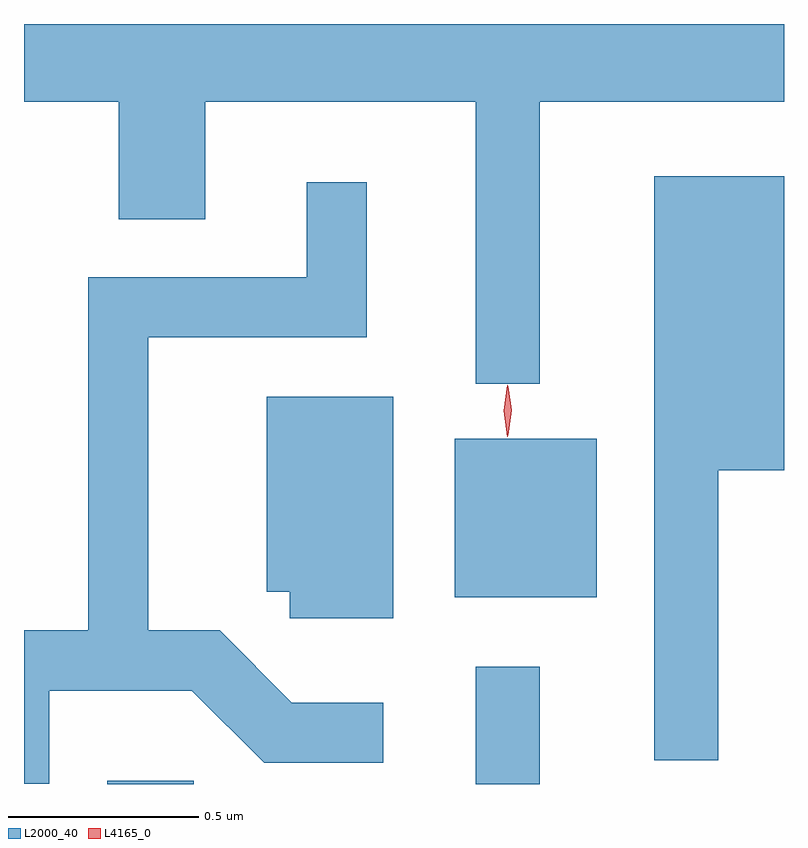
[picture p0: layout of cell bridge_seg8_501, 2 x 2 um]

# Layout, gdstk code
import gdstk
lib = gdstk.Library(unit=1e-6, precision=1e-09)
def R(c, l, rs):  # rectangles x0, y0, x1, y1
    for r in rs: c.add(gdstk.rectangle(r[:2], r[2:], *l))
def P(c, l, *ps):  # polygons
    for p in ps: c.add(gdstk.Polygon(p, *l))
L2000_40 = (2000, 40)
L4165_0 = (4165, 0)

bridge_seg8_501 = lib.new_cell('bridge_seg8_501')
R(bridge_seg8_501, L2000_40, [(332.781,1881.24,333.009,1881.249), (333.751,1881.24,333.919,1881.548), (333.696,1881.731,334.069,1882.149)])
P(bridge_seg8_501, L2000_40, [(332.562,1883.036),(332.811,1883.036),(332.811,1882.726),(333.039,1882.726),(333.039,1883.036),(333.751,1883.036),(333.751,1882.293),(333.919,1882.293),(333.919,1883.036),(334.562,1883.036),(334.562,1883.24),(332.562,1883.24)],
  [(334.389,1882.066),(334.562,1882.066),(334.562,1882.839),(334.221,1882.839),(334.221,1881.303),(334.389,1881.303)],
  [(332.629,1881.486),(333.004,1881.486),(333.194,1881.296),(333.508,1881.296),(333.508,1881.454),(333.267,1881.454),(333.077,1881.644),(332.889,1881.644),(332.889,1882.416),(333.464,1882.416),(333.464,1882.823),(333.306,1882.823),(333.306,1882.574),(332.731,1882.574),(332.731,1881.644),(332.562,1881.644),(332.562,1881.241),(332.629,1881.241)],
  [(333.534,1882.259),(333.201,1882.259),(333.201,1881.746),(333.261,1881.746),(333.261,1881.676),(333.534,1881.676)])
P(bridge_seg8_501, L4165_0, [(333.834,1882.154),(333.834,1882.154),(333.824,1882.222),(333.834,1882.29),(333.834,1882.29),(333.835,1882.29),(333.844,1882.222),(333.835,1882.154)],
  [(333.836,1882.158),(333.836,1882.158),(333.826,1882.222),(333.834,1882.287),(333.835,1882.287),(333.836,1882.287),(333.846,1882.223),(333.836,1882.158)])

lib.write_gds('bridge_seg8_501.gds')
